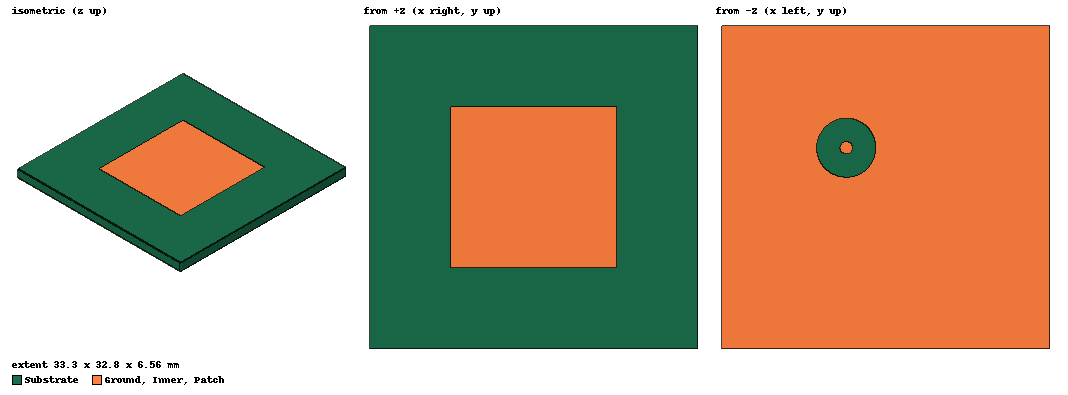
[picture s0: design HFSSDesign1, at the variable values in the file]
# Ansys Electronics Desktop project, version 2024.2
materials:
  vacuum: permittivity=1
  Arlon CuClad 217 (tm): permittivity=2.17 dielectric_loss_tangent=0.0009
  copper: permeability=0.999991 conductivity=58000000

design HFSSDesign1 (HFSS, HFSS Terminal Network, model units mm)
options: Allow_Material_Override
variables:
  h = 1.524mm
  L = 16.9mm
  W = 16.4mm
  t = 0.036mm
  d1 = 1.26mm
  d2 = 4.3mm
  d3 = 6mm
  dx = W/2
  xf = 4mm
  LC = 5mm
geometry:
  Substrate [Arlon CuClad 217 (tm)] = box(corner=(-L/2-dx, -W/2-dx, 0), size=(L+2*dx, W+2*dx, h))
  Patch [copper, solve inside] = box(corner=(-L/2, -W/2, h), size=(L, W, t))
  Ground [copper] = box(corner=(-L/2-dx, -W/2-dx, -t), size=(L+2*dx, W+2*dx, t))
  Cylinder1 = cylinder(axis=Z, base_centre=(xf, xf, -t), radius=d3/2, height=t)
  Ground.subtract(Cylinder1)
  Inner [copper] = cylinder(axis=Z, base_centre=(xf, xf, -LC), radius=d1/2, height=LC+h+t)
